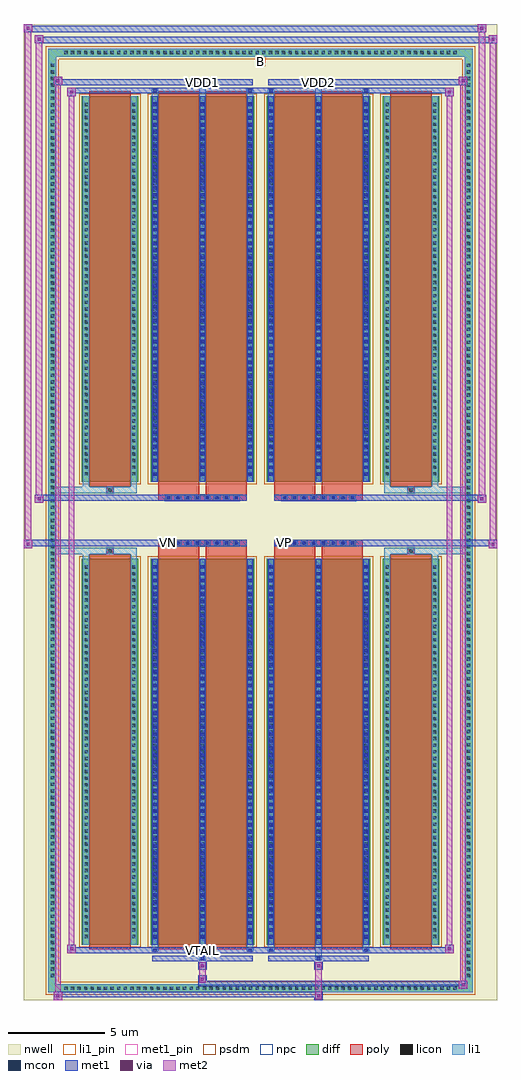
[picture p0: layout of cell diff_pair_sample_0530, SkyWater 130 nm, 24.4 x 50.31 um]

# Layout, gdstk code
import gdstk
lib = gdstk.Library(unit=1e-6, precision=5e-09)
def R(c, l, rs):  # rectangles x0, y0, x1, y1
    for r in rs: c.add(gdstk.rectangle(r[:2], r[2:], *l))
def A(c, l, x, y, w, h, nx, ny, dx, dy):  # array of equal rectangles
    R(c, l, [(x+i*dx, y+j*dy, x+i*dx+w, y+j*dy+h) for i in range(nx) for j in range(ny)])
def P(c, l, *ps):  # polygons
    for p in ps: c.add(gdstk.Polygon(p, *l))
nwell = (64, 20)
diff = (65, 20)
poly = (66, 20)
licon = (66, 44)
li1_pin = (67, 16)
li1 = (67, 20)
mcon = (67, 44)
met1_pin = (68, 16)
met1 = (68, 20)
via = (68, 44)
met2 = (69, 20)
psdm = (94, 20)
npc = (95, 20)

diff_pair_sample_0530 = lib.new_cell('diff_pair_sample_0530')
R(diff_pair_sample_0530, nwell, [(-12.2,-24.72,12.2,25.59), (-9.52,-22.91,-0.01,-0.805), (0.01,-22.91,9.52,-0.805), (-9.52,0.805,-0.01,22.91), (0.01,0.805,9.52,22.91)])
A(diff_pair_sample_0530, diff, -10.235, -24.32, 0.41, 0.41, 60, 2, 0.34, 48.23)
A(diff_pair_sample_0530, diff, -10.93, -23.665, 0.41, 0.41, 1, 139, 0, 0.34)
A(diff_pair_sample_0530, diff, 10.52, -23.665, 0.41, 0.41, 1, 139, 0, 0.34)
R(diff_pair_sample_0530, diff, [(-10.235,-24.32,10.235,-23.91), (-10.93,-23.665,-10.52,23.665), (10.52,-23.665,10.93,23.665), (-9.21,-21.865,-6.31,-1.985), (-5.67,-21.865,-0.32,-1.985), (0.32,-21.865,5.67,-1.985), (6.31,-21.865,9.21,-1.985), (-9.21,1.985,-6.31,21.865), (-5.67,1.985,-0.32,21.865), (0.32,1.985,5.67,21.865), (6.31,1.985,9.21,21.865), (-10.235,23.91,10.235,24.32)])
P(diff_pair_sample_0530, diff, [(10.93,24.32),(-10.93,24.32),(-10.93,-23.91),(-10.52,-23.91),(-10.52,23.91),(10.52,23.91),(10.52,-23.91),(-10.52,-23.91),(-10.93,-23.91),(-10.93,-24.32),(10.93,-24.32)])
A(diff_pair_sample_0530, poly, -4.91, -1.335, 0.33, 0.33, 8, 2, 0.5, 2.34)
A(diff_pair_sample_0530, poly, 1.08, -1.335, 0.33, 0.33, 8, 2, 0.5, 2.34)
R(diff_pair_sample_0530, poly, [(-8.82,-22.115,-6.7,-1.735), (-5.28,-22.115,-3.16,-1.735), (-2.83,-22.115,-0.71,-1.735), (0.71,-22.115,2.83,-1.735), (3.16,-22.115,5.28,-1.735), (6.7,-22.115,8.82,-1.735), (-7.925,-1.735,-7.595,-1.405), (-7.925,-1.735,-7.595,-1.405), (-5.28,-1.735,-3.16,-1.335), (-2.83,-1.735,-0.71,-1.335), (0.71,-1.735,2.83,-1.335), (3.16,-1.735,5.28,-1.335), (7.595,-1.735,7.925,-1.405), (7.595,-1.735,7.925,-1.405), (-5.28,-1.335,-0.71,-1.005), (0.71,-1.335,5.28,-1.005), (-5.28,1.005,-0.71,1.335), (0.71,1.005,5.28,1.335), (-5.28,1.335,-3.16,1.735), (-2.83,1.335,-0.71,1.735), (0.71,1.335,2.83,1.735), (3.16,1.335,5.28,1.735), (-7.925,1.405,-7.595,1.735), (-7.925,1.405,-7.595,1.735), (7.595,1.405,7.925,1.735), (7.595,1.405,7.925,1.735), (-8.82,1.735,-6.7,22.115), (-5.28,1.735,-3.16,22.115), (-2.83,1.735,-0.71,22.115), (0.71,1.735,2.83,22.115), (3.16,1.735,5.28,22.115), (6.7,1.735,8.82,22.115)])
A(diff_pair_sample_0530, licon, -10.115, -24.2, 0.17, 0.17, 60, 2, 0.34, 48.23)
A(diff_pair_sample_0530, licon, -10.81, -23.545, 0.17, 0.17, 1, 139, 0, 0.34)
A(diff_pair_sample_0530, licon, 10.64, -23.545, 0.17, 0.17, 1, 139, 0, 0.34)
A(diff_pair_sample_0530, licon, -9.07, -21.53, 0.17, 0.17, 1, 57, 0, 0.34)
A(diff_pair_sample_0530, licon, -6.62, -21.53, 0.17, 0.17, 1, 57, 0, 0.34)
A(diff_pair_sample_0530, licon, -5.53, -21.53, 0.17, 0.17, 3, 57, 2.45, 0.34)
A(diff_pair_sample_0530, licon, 0.46, -21.53, 0.17, 0.17, 3, 57, 2.45, 0.34)
A(diff_pair_sample_0530, licon, 6.45, -21.53, 0.17, 0.17, 1, 57, 0, 0.34)
A(diff_pair_sample_0530, licon, 8.9, -21.53, 0.17, 0.17, 1, 57, 0, 0.34)
A(diff_pair_sample_0530, licon, -4.83, -1.255, 0.17, 0.17, 8, 2, 0.5, 2.34)
A(diff_pair_sample_0530, licon, 1.16, -1.255, 0.17, 0.17, 8, 2, 0.5, 2.34)
A(diff_pair_sample_0530, licon, -9.07, 2.32, 0.17, 0.17, 1, 57, 0, 0.34)
A(diff_pair_sample_0530, licon, -6.62, 2.32, 0.17, 0.17, 1, 57, 0, 0.34)
A(diff_pair_sample_0530, licon, -5.53, 2.32, 0.17, 0.17, 3, 57, 2.45, 0.34)
A(diff_pair_sample_0530, licon, 0.46, 2.32, 0.17, 0.17, 3, 57, 2.45, 0.34)
A(diff_pair_sample_0530, licon, 6.45, 2.32, 0.17, 0.17, 1, 57, 0, 0.34)
A(diff_pair_sample_0530, licon, 8.9, 2.32, 0.17, 0.17, 1, 57, 0, 0.34)
R(diff_pair_sample_0530, licon, [(-7.845,-1.655,-7.675,-1.485), (7.675,-1.655,7.845,-1.485), (-7.845,1.485,-7.675,1.655), (7.675,1.485,7.845,1.655)])
R(diff_pair_sample_0530, li1_pin, [(-0.25,23.41,0.25,23.91)])
A(diff_pair_sample_0530, li1, -10.195, -24.28, 0.33, 0.33, 60, 2, 0.34, 48.23)
A(diff_pair_sample_0530, li1, -10.89, -23.625, 0.33, 0.33, 1, 139, 0, 0.34)
A(diff_pair_sample_0530, li1, 10.56, -23.625, 0.33, 0.33, 1, 139, 0, 0.34)
A(diff_pair_sample_0530, li1, -5.61, -21.865, 0.33, 19.88, 3, 2, 2.45, 23.85)
A(diff_pair_sample_0530, li1, 0.38, -21.865, 0.33, 19.88, 3, 2, 2.45, 23.85)
A(diff_pair_sample_0530, li1, -9.15, -21.61, 0.33, 0.33, 1, 57, 0, 0.34)
A(diff_pair_sample_0530, li1, -6.7, -21.61, 0.33, 0.33, 1, 57, 0, 0.34)
A(diff_pair_sample_0530, li1, -5.61, -21.61, 0.33, 0.33, 3, 57, 2.45, 0.34)
A(diff_pair_sample_0530, li1, 0.38, -21.61, 0.33, 0.33, 3, 57, 2.45, 0.34)
A(diff_pair_sample_0530, li1, 6.37, -21.61, 0.33, 0.33, 1, 57, 0, 0.34)
A(diff_pair_sample_0530, li1, 8.82, -21.61, 0.33, 0.33, 1, 57, 0, 0.34)
A(diff_pair_sample_0530, li1, -5.53, -21.55, 0.17, 0.17, 3, 54, 2.45, 0.36)
A(diff_pair_sample_0530, li1, -5.53, -21.55, 0.17, 19.25, 3, 2, 2.45, 23.85)
A(diff_pair_sample_0530, li1, 0.46, -21.55, 0.17, 0.17, 3, 54, 2.45, 0.36)
A(diff_pair_sample_0530, li1, 0.46, -21.55, 0.17, 19.25, 3, 2, 2.45, 23.85)
A(diff_pair_sample_0530, li1, -4.91, -1.335, 0.33, 0.33, 8, 2, 0.5, 2.34)
A(diff_pair_sample_0530, li1, 1.08, -1.335, 0.33, 0.33, 8, 2, 0.5, 2.34)
A(diff_pair_sample_0530, li1, -9.15, 2.24, 0.33, 0.33, 1, 57, 0, 0.34)
A(diff_pair_sample_0530, li1, -6.7, 2.24, 0.33, 0.33, 1, 57, 0, 0.34)
A(diff_pair_sample_0530, li1, -5.61, 2.24, 0.33, 0.33, 3, 57, 2.45, 0.34)
A(diff_pair_sample_0530, li1, 0.38, 2.24, 0.33, 0.33, 3, 57, 2.45, 0.34)
A(diff_pair_sample_0530, li1, 6.37, 2.24, 0.33, 0.33, 1, 57, 0, 0.34)
A(diff_pair_sample_0530, li1, 8.82, 2.24, 0.33, 0.33, 1, 57, 0, 0.34)
A(diff_pair_sample_0530, li1, -5.53, 2.3, 0.17, 0.17, 3, 54, 2.45, 0.36)
A(diff_pair_sample_0530, li1, 0.46, 2.3, 0.17, 0.17, 3, 54, 2.45, 0.36)
R(diff_pair_sample_0530, li1, [(-10.93,-24.32,-10.52,-23.91), (-10.93,-24.32,-10.52,-23.91), (-10.52,-24.32,10.52,-23.91), (10.52,-24.32,10.93,-23.91), (10.52,-24.32,10.93,-23.91), (-10.93,-23.91,-10.52,23.91), (10.52,-23.91,10.93,23.91), (-3.16,-22.67,-2.83,-21.865), (-3.08,-22.67,-2.91,-22.5), (2.83,-22.67,3.16,-21.865), (2.91,-22.67,3.08,-22.5), (-5.61,-22.24,-5.28,-21.865), (-5.53,-22.24,-5.36,-22.07), (-0.71,-22.24,-0.38,-21.865), (-0.63,-22.24,-0.46,-22.07), (0.38,-22.24,0.71,-21.865), (0.46,-22.24,0.63,-22.07), (5.28,-22.24,5.61,-21.865), (5.36,-22.24,5.53,-22.07), (-9.15,-21.865,-8.82,-1.985), (-6.7,-21.865,-6.37,-1.985), (6.37,-21.865,6.7,-1.985), (8.82,-21.865,9.15,-1.985), (-9.15,-1.985,-8.82,-1.405), (-6.7,-1.985,-6.37,-1.405), (6.37,-1.985,6.7,-1.405), (8.82,-1.985,9.15,-1.405), (-10.93,-1.735,-7.925,-1.405), (-9.15,-1.735,-7.925,-1.405), (-7.925,-1.735,-7.595,-1.405), (-7.595,-1.735,-6.37,-1.405), (6.37,-1.735,7.595,-1.405), (7.595,-1.735,7.925,-1.405), (7.595,-1.735,10.93,-1.405), (7.925,-1.735,9.15,-1.405), (-10.93,1.405,-7.925,1.735), (-9.15,1.405,-7.925,1.735), (-9.15,1.405,-8.82,1.985), (-7.925,1.405,-7.595,1.735), (-7.595,1.405,-6.37,1.735), (-6.7,1.405,-6.37,1.985), (6.37,1.405,7.595,1.735), (6.37,1.405,6.7,1.985), (7.595,1.405,7.925,1.735), (7.595,1.405,10.93,1.735), (7.925,1.405,9.15,1.735), (8.82,1.405,9.15,1.985), (-9.15,1.985,-8.82,21.865), (-6.7,1.985,-6.37,21.865), (6.37,1.985,6.7,21.865), (8.82,1.985,9.15,21.865), (-5.61,21.865,-5.28,22.24), (-3.16,21.865,-2.83,22.67), (-0.71,21.865,-0.38,22.24), (0.38,21.865,0.71,22.24), (2.83,21.865,3.16,22.67), (5.28,21.865,5.61,22.24), (-5.53,22.07,-5.36,22.24), (-0.63,22.07,-0.46,22.24), (0.46,22.07,0.63,22.24), (5.36,22.07,5.53,22.24), (-3.08,22.5,-2.91,22.67), (2.91,22.5,3.08,22.67), (-10.93,23.91,-10.52,24.32), (-10.93,23.91,-10.52,24.32), (-10.52,23.91,10.52,24.32), (10.52,23.91,10.93,24.32), (10.52,23.91,10.93,24.32)])
A(diff_pair_sample_0530, mcon, -5.53, -21.55, 0.17, 0.17, 3, 54, 2.45, 0.36)
A(diff_pair_sample_0530, mcon, 0.46, -21.55, 0.17, 0.17, 3, 54, 2.45, 0.36)
A(diff_pair_sample_0530, mcon, -4.83, -1.255, 0.17, 0.17, 8, 2, 0.5, 2.34)
A(diff_pair_sample_0530, mcon, 1.16, -1.255, 0.17, 0.17, 8, 2, 0.5, 2.34)
A(diff_pair_sample_0530, mcon, -5.53, 2.3, 0.17, 0.17, 3, 54, 2.45, 0.36)
A(diff_pair_sample_0530, mcon, 0.46, 2.3, 0.17, 0.17, 3, 54, 2.45, 0.36)
R(diff_pair_sample_0530, mcon, [(-3.08,-22.67,-2.91,-22.5), (2.91,-22.67,3.08,-22.5), (-5.53,-22.24,-5.36,-22.07), (-0.63,-22.24,-0.46,-22.07), (0.46,-22.24,0.63,-22.07), (5.36,-22.24,5.53,-22.07), (-5.53,22.07,-5.36,22.24), (-0.63,22.07,-0.46,22.24), (0.46,22.07,0.63,22.24), (5.36,22.07,5.53,22.24), (-3.08,22.5,-2.91,22.67), (2.91,22.5,3.08,22.67)])
R(diff_pair_sample_0530, met1_pin, [(-3.13,-22.28,-2.86,-22.01), (-4.88,-1.295,-4.61,-1.025), (1.11,-1.295,1.38,-1.025), (-3.13,22.46,-2.86,22.73), (2.86,22.46,3.13,22.73)])
A(diff_pair_sample_0530, met1, -5.59, -21.865, 0.29, 19.88, 3, 2, 2.45, 23.85)
A(diff_pair_sample_0530, met1, 0.4, -21.865, 0.29, 19.88, 3, 2, 2.45, 23.85)
A(diff_pair_sample_0530, met1, -5.59, -21.61, 0.29, 0.29, 3, 54, 2.45, 0.36)
A(diff_pair_sample_0530, met1, 0.4, -21.61, 0.29, 0.29, 3, 54, 2.45, 0.36)
A(diff_pair_sample_0530, met1, -4.89, -1.315, 0.29, 0.29, 8, 2, 0.5, 2.34)
A(diff_pair_sample_0530, met1, 1.1, -1.315, 0.29, 0.29, 8, 2, 0.5, 2.34)
A(diff_pair_sample_0530, met1, -5.59, 2.24, 0.29, 0.29, 3, 54, 2.45, 0.36)
A(diff_pair_sample_0530, met1, 0.4, 2.24, 0.29, 0.29, 3, 54, 2.45, 0.36)
R(diff_pair_sample_0530, met1, [(-10.66,-24.72,-10.23,-24.29), (2.78,-24.72,3.21,-24.29), (-10.66,-24.58,3.21,-24.29), (10.23,-24.15,10.66,-23.72), (-3.21,-24.01,10.66,-23.72), (-3.21,-23.87,-2.78,-23.44), (-3.21,-23.16,-2.78,-22.73), (2.78,-23.16,3.21,-22.73), (-5.59,-22.73,-0.4,-22.44), (-3.14,-22.73,-2.85,-22.44), (0.4,-22.73,5.59,-22.44), (2.85,-22.73,3.14,-22.44), (-9.95,-22.3,-9.52,-21.87), (-9.95,-22.3,-5.59,-22.01), (-5.59,-22.3,-5.3,-22.01), (-5.59,-22.3,-0.4,-22.01), (-0.69,-22.3,-0.4,-22.01), (-0.4,-22.3,0.4,-22.01), (0.4,-22.3,0.69,-22.01), (0.4,-22.3,5.59,-22.01), (5.3,-22.3,5.59,-22.01), (5.59,-22.3,9.95,-22.01), (9.52,-22.3,9.95,-21.87), (-12.2,-1.435,-11.77,-1.005), (11.77,-1.435,12.2,-1.005), (-12.2,-1.335,-0.71,-1.005), (-5.28,-1.335,-0.71,-1.005), (0.71,-1.335,5.28,-1.005), (0.71,-1.335,12.2,-1.005), (-11.63,0.905,-11.2,1.335), (11.2,0.905,11.63,1.335), (-11.63,1.005,-5.28,1.335), (-5.28,1.005,-0.71,1.335), (0.71,1.005,5.28,1.335), (5.28,1.005,11.63,1.335), (-9.95,21.87,-9.52,22.3), (9.52,21.87,9.95,22.3), (-9.95,22.01,-5.59,22.3), (-5.59,22.01,-5.3,22.3), (-5.59,22.01,-0.4,22.3), (-0.69,22.01,-0.4,22.3), (-0.4,22.01,0.4,22.3), (0.4,22.01,0.69,22.3), (0.4,22.01,5.59,22.3), (5.3,22.01,5.59,22.3), (5.59,22.01,9.95,22.3), (-10.66,22.44,-10.23,22.87), (-10.66,22.44,-5.59,22.73), (-5.59,22.44,-0.4,22.73), (-3.14,22.44,-2.85,22.73), (0.4,22.44,5.59,22.73), (2.85,22.44,3.14,22.73), (5.59,22.44,10.66,22.73), (10.23,22.44,10.66,22.87), (-11.63,24.59,-11.2,25.02), (-11.63,24.59,-9.52,24.92), (-9.52,24.59,9.52,24.92), (9.52,24.59,12.2,24.92), (11.77,24.59,12.2,25.02), (-12.2,25.16,-11.77,25.59), (-12.2,25.16,-9.52,25.49), (-9.52,25.16,9.52,25.49), (9.52,25.16,11.63,25.49), (11.2,25.16,11.63,25.59)])
R(diff_pair_sample_0530, via, [(-10.52,-24.58,-10.37,-24.43), (2.92,-24.58,3.07,-24.43), (10.37,-24.01,10.52,-23.86), (-3.07,-23.73,-2.92,-23.58), (-3.07,-23.02,-2.92,-22.87), (2.92,-23.02,3.07,-22.87), (-9.81,-22.16,-9.66,-22.01), (9.66,-22.16,9.81,-22.01), (-12.06,-1.295,-11.91,-1.145), (11.91,-1.295,12.06,-1.145), (-11.49,1.045,-11.34,1.195), (11.34,1.045,11.49,1.195), (-9.81,22.01,-9.66,22.16), (9.66,22.01,9.81,22.16), (-10.52,22.58,-10.37,22.73), (10.37,22.58,10.52,22.73), (-11.49,24.73,-11.34,24.88), (11.91,24.73,12.06,24.88), (-12.06,25.3,-11.91,25.45), (11.34,25.3,11.49,25.45)])
R(diff_pair_sample_0530, met2, [(-10.66,-24.72,-10.23,-24.29), (-10.59,-24.72,-10.3,22.87), (-10.3,-24.72,-10.23,-24.29), (-10.61,-24.67,-10.28,-24.34), (2.83,-24.67,3.16,-24.34), (2.83,-24.34,3.16,-23.11), (10.23,-24.15,10.66,-23.72), (10.3,-24.15,10.59,22.87), (10.59,-24.15,10.66,-23.72), (10.28,-24.1,10.61,-23.77), (-3.16,-23.82,-2.83,-23.49), (-3.16,-23.49,-2.83,-23.11), (-3.16,-23.11,-2.83,-22.78), (2.83,-23.11,3.16,-22.78), (-9.95,-22.3,-9.52,-21.87), (-9.88,-22.3,-9.59,22.3), (-9.59,-22.3,-9.52,-21.87), (9.52,-22.3,9.95,-21.87), (9.59,-22.3,9.88,22.3), (9.88,-22.3,9.95,-21.87), (-9.9,-22.25,-9.57,-21.92), (9.57,-22.25,9.9,-21.92), (-12.2,-1.435,-11.77,-1.005), (-12.15,-1.435,-11.82,25.59), (-11.82,-1.435,-11.77,-1.005), (11.77,-1.435,12.2,-1.005), (11.82,-1.435,12.15,25.02), (12.15,-1.435,12.2,-1.005), (-12.15,-1.385,-11.82,-1.055), (11.82,-1.385,12.15,-1.055), (-11.63,0.905,-11.2,1.335), (-11.58,0.905,-11.25,25.02), (-11.25,0.905,-11.2,1.335), (11.2,0.905,11.63,1.335), (11.25,0.905,11.58,25.59), (11.58,0.905,11.63,1.335), (-11.58,0.955,-11.25,1.285), (11.25,0.955,11.58,1.285), (-9.95,21.87,-9.52,22.3), (-9.59,21.87,-9.52,22.3), (9.52,21.87,9.95,22.3), (9.88,21.87,9.95,22.3), (-9.9,21.92,-9.57,22.25), (9.57,21.92,9.9,22.25), (-10.66,22.44,-10.23,22.87), (-10.3,22.44,-10.23,22.87), (10.23,22.44,10.66,22.87), (10.59,22.44,10.66,22.87), (-10.61,22.49,-10.28,22.82), (10.28,22.49,10.61,22.82), (-11.63,24.59,-11.2,25.02), (-11.25,24.59,-11.2,25.02), (11.77,24.59,12.2,25.02), (12.15,24.59,12.2,25.02), (-11.58,24.64,-11.25,24.97), (11.82,24.64,12.15,24.97), (-12.2,25.16,-11.77,25.59), (-11.82,25.16,-11.77,25.59), (11.2,25.16,11.63,25.59), (11.58,25.16,11.63,25.59), (-12.15,25.21,-11.82,25.54), (11.25,25.21,11.58,25.54)])
R(diff_pair_sample_0530, psdm, [(-9.34,-21.995,-6.18,-1.855), (-5.8,-21.995,-0.19,-1.855), (0.19,-21.995,5.8,-1.855), (6.18,-21.995,9.34,-1.855), (-9.34,1.855,-6.18,21.995), (-5.8,1.855,-0.19,21.995), (0.19,1.855,5.8,21.995), (6.18,1.855,9.34,21.995)])
P(diff_pair_sample_0530, psdm, [(11.06,24.45),(-11.06,24.45),(-11.06,-23.78),(-10.39,-23.78),(-10.39,23.78),(10.39,23.78),(10.39,-23.78),(-10.39,-23.78),(-11.06,-23.78),(-11.06,-24.45),(11.06,-24.45)])
A(diff_pair_sample_0530, npc, -4.93, -1.355, 0.37, 0.37, 8, 2, 0.5, 2.34)
A(diff_pair_sample_0530, npc, 1.06, -1.355, 0.37, 0.37, 8, 2, 0.5, 2.34)
R(diff_pair_sample_0530, npc, [(-7.945,-1.755,-7.575,-1.385), (7.575,-1.755,7.945,-1.385), (-4.93,-1.355,-4.06,-0.985), (-4.93,-1.355,-4.06,-0.985), (-4.43,-1.355,-3.56,-0.985), (-4.43,-1.355,-3.56,-0.985), (-3.93,-1.355,-3.06,-0.985), (-3.93,-1.355,-3.06,-0.985), (-3.43,-1.355,-2.56,-0.985), (-3.43,-1.355,-2.56,-0.985), (-2.93,-1.355,-2.06,-0.985), (-2.93,-1.355,-2.06,-0.985), (-2.43,-1.355,-1.56,-0.985), (-2.43,-1.355,-1.56,-0.985), (-1.93,-1.355,-1.06,-0.985), (-1.93,-1.355,-1.06,-0.985), (1.06,-1.355,1.93,-0.985), (1.06,-1.355,1.93,-0.985), (1.56,-1.355,2.43,-0.985), (1.56,-1.355,2.43,-0.985), (2.06,-1.355,2.93,-0.985), (2.06,-1.355,2.93,-0.985), (2.56,-1.355,3.43,-0.985), (2.56,-1.355,3.43,-0.985), (3.06,-1.355,3.93,-0.985), (3.06,-1.355,3.93,-0.985), (3.56,-1.355,4.43,-0.985), (3.56,-1.355,4.43,-0.985), (4.06,-1.355,4.93,-0.985), (4.06,-1.355,4.93,-0.985), (-4.93,0.985,-4.06,1.355), (-4.93,0.985,-4.06,1.355), (-4.43,0.985,-3.56,1.355), (-4.43,0.985,-3.56,1.355), (-3.93,0.985,-3.06,1.355), (-3.93,0.985,-3.06,1.355), (-3.43,0.985,-2.56,1.355), (-3.43,0.985,-2.56,1.355), (-2.93,0.985,-2.06,1.355), (-2.93,0.985,-2.06,1.355), (-2.43,0.985,-1.56,1.355), (-2.43,0.985,-1.56,1.355), (-1.93,0.985,-1.06,1.355), (-1.93,0.985,-1.06,1.355), (1.06,0.985,1.93,1.355), (1.06,0.985,1.93,1.355), (1.56,0.985,2.43,1.355), (1.56,0.985,2.43,1.355), (2.06,0.985,2.93,1.355), (2.06,0.985,2.93,1.355), (2.56,0.985,3.43,1.355), (2.56,0.985,3.43,1.355), (3.06,0.985,3.93,1.355), (3.06,0.985,3.93,1.355), (3.56,0.985,4.43,1.355), (3.56,0.985,4.43,1.355), (4.06,0.985,4.93,1.355), (4.06,0.985,4.93,1.355), (-7.945,1.385,-7.575,1.755), (7.575,1.385,7.945,1.755)])
diff_pair_sample_0530.add(gdstk.Label('VTAIL', (-2.995,-22.145), layer=68, texttype=5))
diff_pair_sample_0530.add(gdstk.Label('VN', (-4.745,-1.16), layer=68, texttype=5))
diff_pair_sample_0530.add(gdstk.Label('VP', (1.245,-1.16), layer=68, texttype=5))
diff_pair_sample_0530.add(gdstk.Label('B', (0,23.66), layer=67, texttype=5))
diff_pair_sample_0530.add(gdstk.Label('VDD2', (2.995,22.595), layer=68, texttype=5))
diff_pair_sample_0530.add(gdstk.Label('VDD1', (-2.995,22.595), layer=68, texttype=5))

lib.write_gds('diff_pair_sample_0530.gds')
